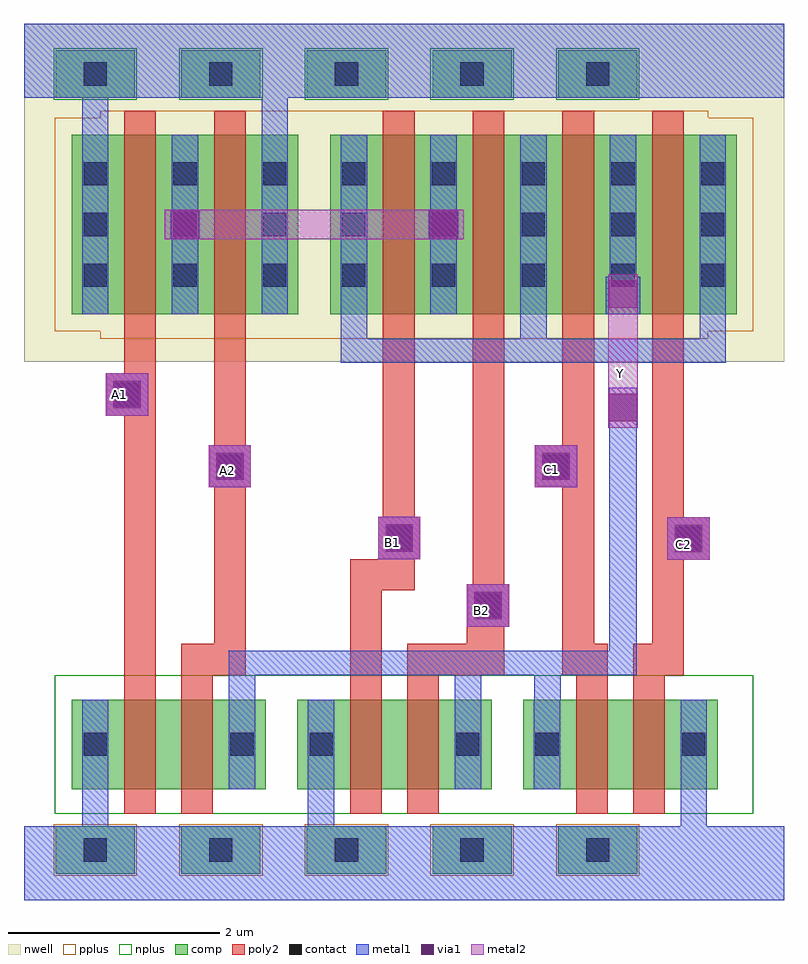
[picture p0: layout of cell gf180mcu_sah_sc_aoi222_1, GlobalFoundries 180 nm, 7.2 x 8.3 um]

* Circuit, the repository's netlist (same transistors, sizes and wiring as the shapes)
* NGSPICE file created from gf180mcu_sah_sc_aoi222_1.ext - technology: gf180mcuD

.subckt gf180mcu_sah_sc_aoi222_1 VSS VDD Y A1 A2 B1 B2 C2 C1
X0 VDD A2 a_n3268_1558# VDD pfet_03v3 ad=0.85p pd=4.4u as=0.4675p ps=2.25u w=1.7u l=0.3u
X1 a_n3268_1558# B1 a_n2938_1558# VDD pfet_03v3 ad=0.4675p pd=2.25u as=0.85p ps=4.4u w=1.7u l=0.3u
X2 VSS C2 a_n2412_658# VSS nfet_03v3 ad=0.425p pd=2.7u as=0.102p ps=1.09u w=0.85u l=0.3u
X3 a_n2412_658# C1 Y VSS nfet_03v3 ad=0.102p pd=1.09u as=0.425p ps=2.7u w=0.85u l=0.3u
X4 Y C1 a_n2938_1558# VDD pfet_03v3 ad=0.4675p pd=2.25u as=0.4675p ps=2.25u w=1.7u l=0.3u
X5 a_n3268_1558# A1 VDD VDD pfet_03v3 ad=0.4675p pd=2.25u as=0.85p ps=4.4u w=1.7u l=0.3u
X6 Y A2 a_n3268_658# VSS nfet_03v3 ad=0.425p pd=2.7u as=0.102p ps=1.09u w=0.85u l=0.3u
X7 a_n2938_1558# C2 Y VDD pfet_03v3 ad=0.85p pd=4.4u as=0.4675p ps=2.25u w=1.7u l=0.3u
X8 a_n3268_658# A1 VSS VSS nfet_03v3 ad=0.102p pd=1.09u as=0.425p ps=2.7u w=0.85u l=0.3u
X9 a_n2938_1558# B2 a_n3268_1558# VDD pfet_03v3 ad=0.4675p pd=2.25u as=0.4675p ps=2.25u w=1.7u l=0.3u
X10 Y B2 a_n2840_658# VSS nfet_03v3 ad=0.425p pd=2.7u as=0.102p ps=1.09u w=0.85u l=0.3u
X11 a_n2840_658# B1 VSS VSS nfet_03v3 ad=0.102p pd=1.09u as=0.425p ps=2.7u w=0.85u l=0.3u
.ends

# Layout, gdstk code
from math import pi, radians
import gdstk
lib = gdstk.Library(unit=1e-6, precision=5e-09)
def R(c, l, rs):  # rectangles x0, y0, x1, y1
    for r in rs: c.add(gdstk.rectangle(r[:2], r[2:], *l))
def A(c, l, x, y, w, h, nx, ny, dx, dy):  # array of equal rectangles
    R(c, l, [(x+i*dx, y+j*dy, x+i*dx+w, y+j*dy+h) for i in range(nx) for j in range(ny)])
nwell = (21, 0)
comp = (22, 0)
poly2 = (30, 0)
pplus = (31, 0)
nplus = (32, 0)
contact = (33, 0)
metal1 = (34, 0)
via1 = (35, 0)
metal2 = (36, 0)

stdcell_template_1 = lib.new_cell('stdcell-template$1')
R(stdcell_template_1, nwell, [(5.1,0,8.3,7.2)])
A(stdcell_template_1, comp, 0.25, 0.3, 0.45, 0.75, 1, 5, 0, 1.19)
A(stdcell_template_1, comp, 7.6, 0.3, 0.45, 0.75, 1, 5, 0, 1.19)
A(stdcell_template_1, comp, 1.05, 0.45, 0.85, 1.84, 1, 3, 0, 2.14)
R(stdcell_template_1, comp, [(5.55,0.45,7.25,2.6), (5.55,2.9,7.25,6.75)])
A(stdcell_template_1, poly2, 5.32, 3.4, 2.16, 0.3, 1, 4, 0, 0.85)
R(stdcell_template_1, poly2, [(0.82,0.95,2.13,1.25), (5.32,0.95,7.48,1.25), (0.82,1.49,2.13,1.79), (5.32,1.8,7.48,2.1), (0.82,3.09,2.13,3.39), (0.82,3.63,2.13,3.93), (0.82,5.23,2.13,5.53), (0.82,5.77,2.13,6.07)])
A(stdcell_template_1, pplus, 0.23, 0.28, 0.49, 0.79, 1, 5, 0, 1.19)
R(stdcell_template_1, pplus, [(5.39,0.29,7.41,6.91), (5.32,0.72,5.39,6.48), (7.41,0.72,7.48,6.48)])
A(stdcell_template_1, nplus, 7.58, 0.28, 0.49, 0.79, 1, 5, 0, 1.19)
R(stdcell_template_1, nplus, [(0.82,0.29,2.13,6.91)])
A(stdcell_template_1, contact, 0.365, 0.565, 0.22, 0.22, 1, 5, 0, 1.19)
A(stdcell_template_1, contact, 5.81, 0.565, 0.22, 0.22, 3, 3, 0.48, 0.85)
A(stdcell_template_1, contact, 7.715, 0.565, 0.22, 0.22, 1, 5, 0, 1.19)
A(stdcell_template_1, contact, 5.81, 3.015, 0.22, 0.22, 3, 5, 0.48, 0.85)
R(stdcell_template_1, contact, [(1.365,0.565,1.585,0.785), (1.365,1.955,1.585,2.175), (1.365,2.705,1.585,2.925), (1.365,4.095,1.585,4.315), (1.365,4.845,1.585,5.065), (1.365,6.235,1.585,6.455)])
A(stdcell_template_1, metal1, 5.55, 0.55, 1.7, 0.25, 1, 3, 0, 0.85)
A(stdcell_template_1, metal1, 5.55, 3, 1.7, 0.25, 1, 5, 0, 0.85)
R(stdcell_template_1, metal1, [(0,0,0.7,7.2), (7.6,0,8.3,7.2), (1.05,0.55,1.9,0.8), (1.05,1.94,1.9,2.19), (1.05,2.69,1.9,2.94), (1.05,4.08,1.9,4.33), (1.05,4.83,1.9,5.08), (1.05,6.22,1.9,6.47)])
stdcell_template_1.add(gdstk.Label('VSS', (0.35,3.6), layer=34, texttype=10))
stdcell_template_1.add(gdstk.Label('VDD', (7.95,3.6), layer=34, texttype=10))

via_dev_1 = lib.new_cell('via_dev$1')
R(via_dev_1, poly2, [(0,0,0.4,0.4)])
R(via_dev_1, contact, [(0.09,0.09,0.31,0.31)])
R(via_dev_1, metal1, [(0,0,0.4,0.4)])
R(via_dev_1, via1, [(0.07,0.07,0.33,0.33)])
R(via_dev_1, metal2, [(0,0,0.4,0.4)])

gf180mcu_sah_sc_aoi222_1 = lib.new_cell('gf180mcu_sah_sc_aoi222_1')
A(gf180mcu_sah_sc_aoi222_1, poly2, -13.34, 4.37, 0.3, 3.19, 3, 1, 0.85, 0)
R(gf180mcu_sah_sc_aoi222_1, poly2, [(-16.64,4.37,-16.34,7.56), (-16.1,4.37,-15.79,4.67), (-15.79,4.37,-15.49,7.56), (-14.5,4.37,-14.2,5.47), (-13.96,4.37,-13.34,4.67), (-12.19,4.37,-12.06,4.67), (-11.82,4.37,-11.64,4.67), (-13.395,4.67,-13.34,4.83), (-14.2,5.175,-14.19,5.47), (-14.19,5.175,-13.89,7.56)])
A(gf180mcu_sah_sc_aoi222_1, metal1, -14.59, 7.56, 0.25, 0.23, 3, 1, 1.7, 0)
R(gf180mcu_sah_sc_aoi222_1, metal1, [(-17.04,2.94,-16.79,3.29), (-14.9,2.94,-14.65,3.29), (-11.37,2.94,-11.12,3.29), (-15.65,4.14,-15.4,4.37), (-13.51,4.14,-13.26,4.37), (-12.755,4.14,-12.505,4.37), (-15.65,4.37,-12.045,4.6), (-12.045,4.37,-11.785,7.095), (-14.59,7.33,-10.94,7.56), (-12.08,7.79,-11.75,8.145), (-16.205,8.5,-15.925,8.78), (-13.755,8.5,-13.475,8.78), (-17.04,9.49,-16.79,9.84), (-15.34,9.49,-15.09,9.84)])
R(gf180mcu_sah_sc_aoi222_1, via1, [(-12.045,6.775,-11.785,7.035), (-12.045,7.85,-11.785,8.11), (-16.195,8.51,-15.935,8.77), (-13.745,8.51,-13.485,8.77)])
R(gf180mcu_sah_sc_aoi222_1, metal2, [(-12.055,6.715,-11.775,8.17), (-16.255,8.5,-13.425,8.78)])
gf180mcu_sah_sc_aoi222_1.add(gdstk.Reference(stdcell_template_1, (-17.59,2.24), rotation=pi/2, x_reflection=True))
gf180mcu_sah_sc_aoi222_1.add(gdstk.Reference(via_dev_1, (-12.995,4.83), rotation=pi/2))
gf180mcu_sah_sc_aoi222_1.add(gdstk.Reference(via_dev_1, (-11.095,5.465), rotation=pi/2))
gf180mcu_sah_sc_aoi222_1.add(gdstk.Reference(via_dev_1, (-15.44,6.15), rotation=pi/2))
gf180mcu_sah_sc_aoi222_1.add(gdstk.Reference(via_dev_1, (-12.35,6.15), rotation=pi/2))
gf180mcu_sah_sc_aoi222_1.add(gdstk.Reference(via_dev_1, (-13.835,5.47), rotation=pi/2))
gf180mcu_sah_sc_aoi222_1.add(gdstk.Reference(via_dev_1, (-16.415,6.83), rotation=pi/2))
gf180mcu_sah_sc_aoi222_1.add(gdstk.Label('Y', (-11.94,7.23), layer=36, texttype=10))
gf180mcu_sah_sc_aoi222_1.add(gdstk.Label('A1', (-16.685,7.025), layer=36, texttype=10))
gf180mcu_sah_sc_aoi222_1.add(gdstk.Label('A2', (-15.665,6.305), layer=36, texttype=10))
gf180mcu_sah_sc_aoi222_1.add(gdstk.Label('B1', (-14.1,5.625), layer=36, texttype=10))
gf180mcu_sah_sc_aoi222_1.add(gdstk.Label('B2', (-13.26,4.98), layer=36, texttype=10))
gf180mcu_sah_sc_aoi222_1.add(gdstk.Label('C2', (-11.34,5.605), layer=36, texttype=10))
gf180mcu_sah_sc_aoi222_1.add(gdstk.Label('C1', (-12.595,6.315), layer=36, texttype=10))

lib.write_gds('gf180mcu_sah_sc_aoi222_1.gds')
